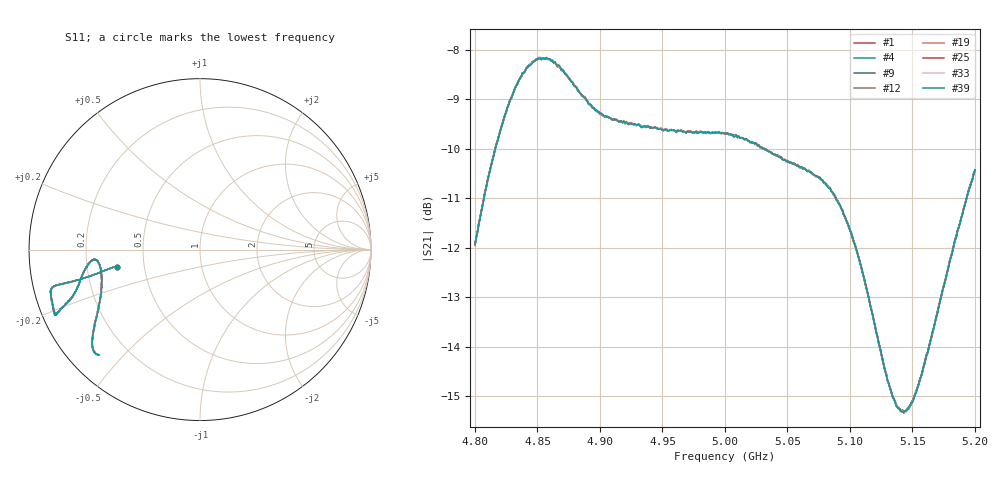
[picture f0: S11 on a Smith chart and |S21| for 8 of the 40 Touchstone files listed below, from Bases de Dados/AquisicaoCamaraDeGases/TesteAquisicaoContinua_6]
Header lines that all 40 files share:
! Network Analyzer HP8722D
! Hewlett-Packard
! Data name: Linha & Wilkinson
! Saver's name: Rodrigo Anjos
! Comments: Teste da utilização de aquisição
! continua pelo VNA HP8722D
!  Frequency  S11  S21  S12  S22
# HZ  S  MA R 50
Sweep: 4.8 GHz to 5.2 GHz
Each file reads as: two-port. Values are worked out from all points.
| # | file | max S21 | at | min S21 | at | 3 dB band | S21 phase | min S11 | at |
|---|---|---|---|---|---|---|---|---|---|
| 1 | teste_arseco&H20_100-50_160.S2P | -8.17 dB | 4.854 GHz | -15.3 dB | 5.143 GHz | 4.806 GHz-5.092 GHz | -62 deg at 5 GHz | -6.1 dB | 4.8 GHz |
| 2 | teste_arseco&H20_100-50_161.S2P | -8.16 dB | 4.851 GHz | -15.3 dB | 5.143 GHz | 4.806 GHz-5.092 GHz | -62 deg at 5 GHz | -6.1 dB | 4.8 GHz |
| 3 | teste_arseco&H20_100-50_162.S2P | -8.15 dB | 4.851 GHz | -15.3 dB | 5.141 GHz | 4.806 GHz-5.092 GHz | -62 deg at 5 GHz | -6.1 dB | 4.8 GHz |
| 4 | teste_arseco&H20_100-50_163.S2P | -8.17 dB | 4.851 GHz | -15.3 dB | 5.143 GHz | 4.806 GHz-5.092 GHz | -62 deg at 5 GHz | -6.1 dB | 4.8 GHz |
| 5 | teste_arseco&H20_100-50_164.S2P | -8.17 dB | 4.854 GHz | -15.3 dB | 5.143 GHz | 4.806 GHz-5.092 GHz | -62 deg at 5 GHz | -6.1 dB | 4.8 GHz |
| 6 | teste_arseco&H20_100-50_165.S2P | -8.16 dB | 4.854 GHz | -15.3 dB | 5.141 GHz | 4.806 GHz-5.092 GHz | -62 deg at 5 GHz | -6.1 dB | 4.8 GHz |
| 7 | teste_arseco&H20_100-50_166.S2P | -8.17 dB | 4.855 GHz | -15.3 dB | 5.144 GHz | 4.806 GHz-5.092 GHz | -62 deg at 5 GHz | -6.1 dB | 4.8 GHz |
| 8 | teste_arseco&H20_100-50_167.S2P | -8.15 dB | 4.857 GHz | -15.3 dB | 5.143 GHz | 4.806 GHz-5.091 GHz | -62 deg at 5 GHz | -6.1 dB | 4.8 GHz |
| 9 | teste_arseco&H20_100-50_168.S2P | -8.16 dB | 4.857 GHz | -15.3 dB | 5.143 GHz | 4.806 GHz-5.092 GHz | -62 deg at 5 GHz | -6.1 dB | 4.8 GHz |
| 10 | teste_arseco&H20_100-50_169.S2P | -8.17 dB | 4.852 GHz | -15.3 dB | 5.143 GHz | 4.806 GHz-5.091 GHz | -62 deg at 5 GHz | -6.1 dB | 4.8 GHz |
| 11 | teste_arseco&H20_100-50_170.S2P | -8.17 dB | 4.852 GHz | -15.3 dB | 5.145 GHz | 4.806 GHz-5.092 GHz | -62 deg at 5 GHz | -6.1 dB | 4.8 GHz |
| 12 | teste_arseco&H20_100-50_171.S2P | -8.16 dB | 4.851 GHz | -15.3 dB | 5.144 GHz | 4.806 GHz-5.091 GHz | -62 deg at 5 GHz | -6.1 dB | 4.8 GHz |
| 13 | teste_arseco&H20_100-50_172.S2P | -8.16 dB | 4.852 GHz | -15.3 dB | 5.143 GHz | 4.806 GHz-5.092 GHz | -62 deg at 5 GHz | -6.1 dB | 4.8 GHz |
| 14 | teste_arseco&H20_100-50_173.S2P | -8.16 dB | 4.854 GHz | -15.3 dB | 5.143 GHz | 4.806 GHz-5.091 GHz | -62 deg at 5 GHz | -6.1 dB | 4.8 GHz |
| 15 | teste_arseco&H20_100-50_174.S2P | -8.17 dB | 4.851 GHz | -15.3 dB | 5.143 GHz | 4.806 GHz-5.092 GHz | -62 deg at 5 GHz | -6.1 dB | 4.8 GHz |
| 16 | teste_arseco&H20_100-50_175.S2P | -8.15 dB | 4.854 GHz | -15.3 dB | 5.143 GHz | 4.806 GHz-5.091 GHz | -62 deg at 5 GHz | -6.1 dB | 4.8 GHz |
| 17 | teste_arseco&H20_100-50_176.S2P | -8.17 dB | 4.851 GHz | -15.3 dB | 5.143 GHz | 4.806 GHz-5.092 GHz | -62 deg at 5 GHz | -6.1 dB | 4.8 GHz |
| 18 | teste_arseco&H20_100-50_177.S2P | -8.15 dB | 4.851 GHz | -15.3 dB | 5.141 GHz | 4.806 GHz-5.092 GHz | -62 deg at 5 GHz | -6.1 dB | 4.8 GHz |
| 19 | teste_arseco&H20_100-50_178.S2P | -8.15 dB | 4.852 GHz | -15.3 dB | 5.144 GHz | 4.806 GHz-5.092 GHz | -62 deg at 5 GHz | -6.1 dB | 4.8 GHz |
| 20 | teste_arseco&H20_100-50_179.S2P | -8.15 dB | 4.852 GHz | -15.3 dB | 5.143 GHz | 4.806 GHz-5.091 GHz | -62 deg at 5 GHz | -6.1 dB | 4.8 GHz |
| 21 | teste_arseco&H20_100-50_180.S2P | -8.16 dB | 4.851 GHz | -15.3 dB | 5.144 GHz | 4.807 GHz-5.092 GHz | -62 deg at 5 GHz | -6.1 dB | 4.8 GHz |
| 22 | teste_arseco&H20_100-50_181.S2P | -8.16 dB | 4.852 GHz | -15.3 dB | 5.143 GHz | 4.806 GHz-5.092 GHz | -62 deg at 5 GHz | -6.1 dB | 4.8 GHz |
| 23 | teste_arseco&H20_100-50_182.S2P | -8.17 dB | 4.854 GHz | -15.3 dB | 5.143 GHz | 4.806 GHz-5.092 GHz | -62 deg at 5 GHz | -6.1 dB | 4.8 GHz |
| 24 | teste_arseco&H20_100-50_183.S2P | -8.16 dB | 4.851 GHz | -15.3 dB | 5.143 GHz | 4.806 GHz-5.092 GHz | -62 deg at 5 GHz | -6.1 dB | 4.8 GHz |
| 25 | teste_arseco&H20_100-50_184.S2P | -8.17 dB | 4.852 GHz | -15.3 dB | 5.143 GHz | 4.806 GHz-5.092 GHz | -62 deg at 5 GHz | -6.1 dB | 4.8 GHz |
| 26 | teste_arseco&H20_100-50_185.S2P | -8.16 dB | 4.857 GHz | -15.3 dB | 5.143 GHz | 4.806 GHz-5.092 GHz | -62 deg at 5 GHz | -6.1 dB | 4.8 GHz |
| 27 | teste_arseco&H20_100-50_186.S2P | -8.16 dB | 4.852 GHz | -15.3 dB | 5.144 GHz | 4.806 GHz-5.092 GHz | -62 deg at 5 GHz | -6.1 dB | 4.8 GHz |
| 28 | teste_arseco&H20_100-50_187.S2P | -8.17 dB | 4.857 GHz | -15.3 dB | 5.143 GHz | 4.806 GHz-5.092 GHz | -62 deg at 5 GHz | -6.1 dB | 4.8 GHz |
| 29 | teste_arseco&H20_100-50_188.S2P | -8.16 dB | 4.854 GHz | -15.3 dB | 5.143 GHz | 4.806 GHz-5.092 GHz | -62 deg at 5 GHz | -6.1 dB | 4.8 GHz |
| 30 | teste_arseco&H20_100-50_189.S2P | -8.16 dB | 4.857 GHz | -15.3 dB | 5.143 GHz | 4.806 GHz-5.092 GHz | -62 deg at 5 GHz | -6.1 dB | 4.8 GHz |
| 31 | teste_arseco&H20_100-50_190.S2P | -8.16 dB | 4.854 GHz | -15.3 dB | 5.143 GHz | 4.806 GHz-5.092 GHz | -62 deg at 5 GHz | -6.1 dB | 4.8 GHz |
| 32 | teste_arseco&H20_100-50_191.S2P | -8.17 dB | 4.854 GHz | -15.3 dB | 5.143 GHz | 4.806 GHz-5.092 GHz | -62 deg at 5 GHz | -6.1 dB | 4.8 GHz |
| 33 | teste_arseco&H20_100-50_192.S2P | -8.17 dB | 4.857 GHz | -15.3 dB | 5.144 GHz | 4.806 GHz-5.092 GHz | -62 deg at 5 GHz | -6.1 dB | 4.8 GHz |
| 34 | teste_arseco&H20_100-50_193.S2P | -8.17 dB | 4.851 GHz | -15.3 dB | 5.144 GHz | 4.806 GHz-5.092 GHz | -62 deg at 5 GHz | -6.1 dB | 4.8 GHz |
| 35 | teste_arseco&H20_100-50_194.S2P | -8.17 dB | 4.854 GHz | -15.3 dB | 5.143 GHz | 4.806 GHz-5.092 GHz | -62 deg at 5 GHz | -6.1 dB | 4.8 GHz |
| 36 | teste_arseco&H20_100-50_195.S2P | -8.17 dB | 4.851 GHz | -15.3 dB | 5.141 GHz | 4.806 GHz-5.092 GHz | -62 deg at 5 GHz | -6.1 dB | 4.8 GHz |
| 37 | teste_arseco&H20_100-50_196.S2P | -8.16 dB | 4.851 GHz | -15.3 dB | 5.143 GHz | 4.806 GHz-5.092 GHz | -62 deg at 5 GHz | -6.1 dB | 4.8 GHz |
| 38 | teste_arseco&H20_100-50_197.S2P | -8.17 dB | 4.852 GHz | -15.3 dB | 5.141 GHz | 4.806 GHz-5.092 GHz | -62 deg at 5 GHz | -6.1 dB | 4.8 GHz |
| 39 | teste_arseco&H20_100-50_198.S2P | -8.16 dB | 4.857 GHz | -15.3 dB | 5.143 GHz | 4.807 GHz-5.092 GHz | -62 deg at 5 GHz | -6.1 dB | 4.8 GHz |
| 40 | teste_arseco&H20_100-50_199.S2P | -8.17 dB | 4.852 GHz | -15.3 dB | 5.143 GHz | 4.806 GHz-5.092 GHz | -62 deg at 5 GHz | -6.1 dB | 4.8 GHz |
